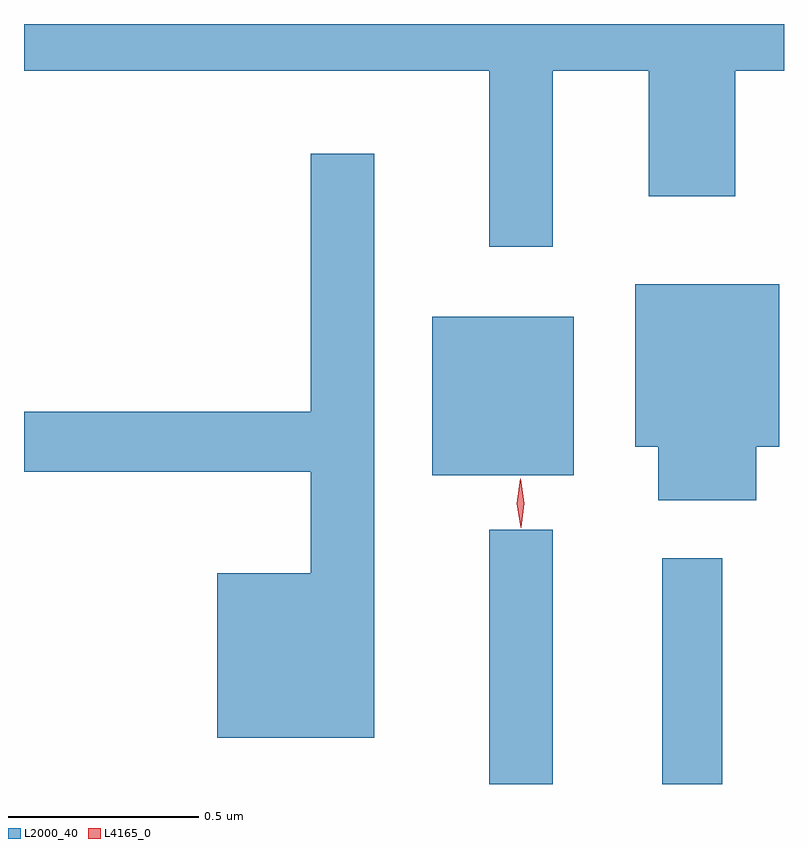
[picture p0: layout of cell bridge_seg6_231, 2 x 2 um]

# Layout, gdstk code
import gdstk
lib = gdstk.Library(unit=1e-6, precision=1e-09)
def R(c, l, rs):  # rectangles x0, y0, x1, y1
    for r in rs: c.add(gdstk.rectangle(r[:2], r[2:], *l))
def P(c, l, *ps):  # polygons
    for p in ps: c.add(gdstk.Polygon(p, *l))
L2000_40 = (2000, 40)
L4165_0 = (4165, 0)

bridge_seg6_231 = lib.new_cell('bridge_seg6_231')
R(bridge_seg6_231, L2000_40, [(1084.771,1541.499,1084.939,1542.168), (1085.226,1541.499,1085.384,1542.093), (1084.621,1542.311,1084.994,1542.729)])
P(bridge_seg6_231, L2000_40, [(1084.939,1543.376),(1085.191,1543.376),(1085.191,1543.046),(1085.419,1543.046),(1085.419,1543.376),(1085.547,1543.376),(1085.547,1543.499),(1083.547,1543.499),(1083.547,1543.376),(1084.771,1543.376),(1084.771,1542.913),(1084.939,1542.913)],
  [(1084.469,1543.158),(1084.301,1543.158),(1084.301,1542.479),(1083.547,1542.479),(1083.547,1542.321),(1084.301,1542.321),(1084.301,1542.054),(1084.056,1542.054),(1084.056,1541.621),(1084.469,1541.621)],
  [(1085.474,1542.386),(1085.534,1542.386),(1085.534,1542.814),(1085.156,1542.814),(1085.156,1542.386),(1085.216,1542.386),(1085.216,1542.246),(1085.474,1542.246)])
P(bridge_seg6_231, L4165_0, [(1084.854,1542.173),(1084.854,1542.174),(1084.844,1542.237),(1084.853,1542.302),(1084.854,1542.302),(1084.854,1542.302),(1084.864,1542.238),(1084.855,1542.174)])

lib.write_gds('bridge_seg6_231.gds')
